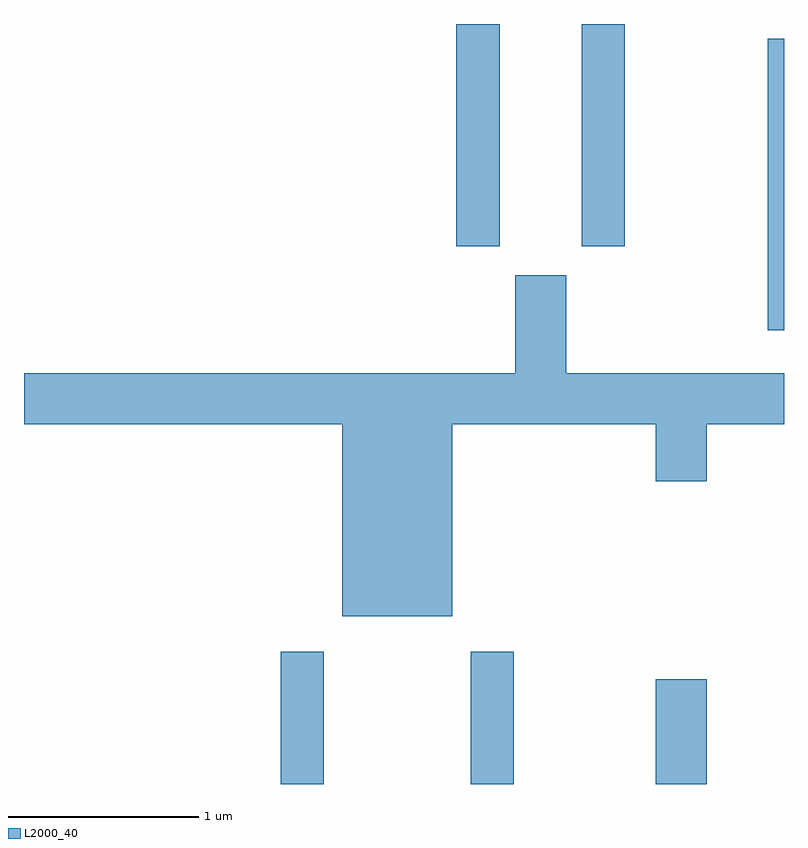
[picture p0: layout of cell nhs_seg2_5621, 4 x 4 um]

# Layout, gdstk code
import gdstk
lib = gdstk.Library(unit=1e-6, precision=1e-09)
def R(c, l, rs):  # rectangles x0, y0, x1, y1
    for r in rs: c.add(gdstk.rectangle(r[:2], r[2:], *l))
def P(c, l, *ps):  # polygons
    for p in ps: c.add(gdstk.Polygon(p, *l))
L2000_40 = (2000, 40)

nhs_seg2_5621 = lib.new_cell('nhs_seg2_5621')
R(nhs_seg2_5621, L2000_40, [(352.961,999.802,353.189,1000.499), (353.961,999.802,354.189,1000.499), (354.936,999.802,355.204,1000.354), (355.526,1002.191,355.611,1003.724), (353.886,1002.631,354.114,1003.802), (354.546,1002.631,354.774,1003.802)])
P(nhs_seg2_5621, L2000_40, [(353.864,1001.696),(354.936,1001.696),(354.936,1001.396),(355.204,1001.396),(355.204,1001.696),(355.611,1001.696),(355.611,1001.964),(354.464,1001.964),(354.464,1002.479),(354.196,1002.479),(354.196,1001.964),(351.611,1001.964),(351.611,1001.696),(353.286,1001.696),(353.286,1000.686),(353.864,1000.686)])

lib.write_gds('nhs_seg2_5621.gds')
